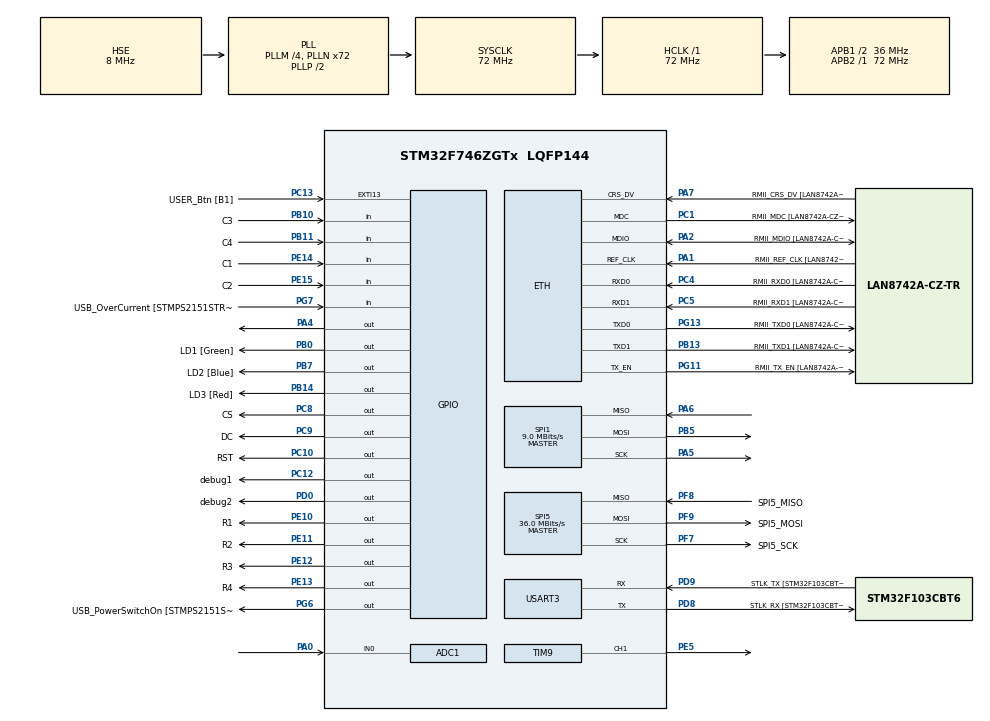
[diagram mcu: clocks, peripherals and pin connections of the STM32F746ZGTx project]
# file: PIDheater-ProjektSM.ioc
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ADC1.Channel-0\#ChannelRegularConversion=ADC_CHANNEL_0
ADC1.NbrOfConversionFlag=1
ADC1.Rank-0\#ChannelRegularConversion=1
ADC1.SamplingTime-0\#ChannelRegularConversion=ADC_SAMPLETIME_28CYCLES
ADC1.master=1
ARM.CMSIS.5.7.0.CMSISJjCORE=true
ARM.CMSIS.5.7.0.CMSISJjDSP=Library
CRC.DefaultInitValueUse=DEFAULT_INIT_VALUE_ENABLE
ETH.MediaInterface=HAL_ETH_RMII_MODE
ETH.PHY_Name=LAN8742A_PHY_ADDRESS
ETH.PHY_Value=0
ETH.PhyAddress=0
FATFS._MAX_SS=4096
FATFS._USE_LFN=1
LWIP.BSP.number=1
LWIP.GATEWAY_ADDRESS=192.168.113.004
LWIP.IP_ADDRESS=192.168.113.005
LWIP.LWIP_DHCP=1
LWIP.LWIP_RAW=1
LWIP.LWIP_SNTP=1
LWIP.NETMASK_ADDRESS=255.255.255.000
LWIP.SNTP_MAX_SERVERS=2
LWIP.Version=v2.1.2_Cube
LWIP0.BSP.STBoard=false
LWIP0.BSP.api=BSP_COMPONENT_DRIVER
LWIP0.BSP.component=LAN8742
LWIP0.BSP.instance=LAN8742
LWIP0.BSP.name=Driver_PHY
LWIP0.BSP.semaphore=S_LAN8742
LWIP0.BSP.solution=LAN8742
Mcu.Family=STM32F7
Mcu.Name=STM32F746ZGTx
Mcu.Package=LQFP144
NVIC.ETH_IRQn=true\:0\:0\:false\:false\:true\:true\:true\:true
NVIC.PriorityGroup=NVIC_PRIORITYGROUP_4
NVIC.TIM1_TRG_COM_TIM11_IRQn=true\:0\:0\:false\:false\:true\:true\:true\:true
NVIC.TIM1_UP_TIM10_IRQn=true\:0\:0\:false\:false\:true\:true\:true\:true
NVIC.TIM3_IRQn=true\:0\:0\:false\:false\:true\:true\:true\:true
NVIC.TIM8_UP_TIM13_IRQn=true\:0\:0\:false\:false\:true\:true\:true\:true
NVIC.USART3_IRQn=true\:0\:0\:false\:false\:true\:true\:true\:true
PA0/WKUP.Signal=ADCx_IN0
PA1.GPIO_Label=RMII_REF_CLK [LAN8742A-CZ-TR_REFCLK0]
PA1.Mode=RMII
PA1.Signal=ETH_REF_CLK
PA10.GPIO_Label=USB_ID
PA10.Signal=USB_OTG_FS_ID
PA11.GPIO_Label=USB_DM
PA11.Signal=USB_OTG_FS_DM
PA12.GPIO_Label=USB_DP
PA12.Signal=USB_OTG_FS_DP
PA13.GPIO_Label=TMS
PA13.Mode=Serial_Wire
PA13.Signal=SYS_JTMS-SWDIO
PA14.GPIO_Label=TCK
PA14.Mode=Serial_Wire
PA14.Signal=SYS_JTCK-SWCLK
PA2.GPIO_Label=RMII_MDIO [LAN8742A-CZ-TR_MDIO]
PA2.Mode=RMII
PA2.Signal=ETH_MDIO
PA4.GPIO_Speed=GPIO_SPEED_FREQ_MEDIUM
PA4.PinState=GPIO_PIN_SET
PA4.Signal=GPIO_Output
PA5.Mode=Full_Duplex_Master
PA5.Signal=SPI1_SCK
PA6.Mode=Full_Duplex_Master
PA6.Signal=SPI1_MISO
PA7.GPIO_Label=RMII_CRS_DV [LAN8742A-CZ-TR_CRS_DV]
PA7.Mode=RMII
PA7.Signal=ETH_CRS_DV
PA8.GPIO_Label=USB_SOF [TP1]
PA8.Signal=USB_OTG_FS_SOF
PA9.GPIO_Label=USB_VBUS
PA9.Signal=USB_OTG_FS_VBUS
PB0.GPIO_Label=LD1 [Green]
PB0.Signal=GPIO_Output
PB10.GPIO_Label=C3
PB10.GPIO_PuPd=GPIO_PULLUP
PB10.Signal=GPIO_Input
PB11.GPIO_Label=C4
PB11.GPIO_PuPd=GPIO_PULLUP
PB11.Signal=GPIO_Input
PB13.GPIO_Label=RMII_TXD1 [LAN8742A-CZ-TR_TXD1]
PB13.Mode=RMII
PB13.Signal=ETH_TXD1
PB14.GPIO_Label=LD3 [Red]
PB14.Signal=GPIO_Output
PB3.GPIO_Label=SW0
PB3.Signal=SYS_JTDO-SWO
PB5.Mode=Full_Duplex_Master
PB5.Signal=SPI1_MOSI
PB7.GPIO_Label=LD2 [Blue]
PB7.Signal=GPIO_Output
PC1.GPIO_Label=RMII_MDC [LAN8742A-CZ-TR_MDC]
PC1.Mode=RMII
PC1.Signal=ETH_MDC
PC10.GPIO_Label=RST
PC10.Signal=GPIO_Output
PC12.GPIO_Label=debug1
PC12.Signal=GPIO_Output
PC13.GPIO_Label=USER_Btn [B1]
PC13.Signal=GPXTI13
PC14/OSC32_IN.Mode=LSE-External-Oscillator
PC14/OSC32_IN.Signal=RCC_OSC32_IN
PC15/OSC32_OUT.Mode=LSE-External-Oscillator
PC15/OSC32_OUT.Signal=RCC_OSC32_OUT
PC4.GPIO_Label=RMII_RXD0 [LAN8742A-CZ-TR_RXD0]
PC4.Mode=RMII
PC4.Signal=ETH_RXD0
PC5.GPIO_Label=RMII_RXD1 [LAN8742A-CZ-TR_RXD1]
PC5.Mode=RMII
PC5.Signal=ETH_RXD1
PC8.GPIO_Label=CS
PC8.Signal=GPIO_Output
PC9.GPIO_Label=DC
PC9.Signal=GPIO_Output
PD0.GPIO_Label=debug2
PD0.Signal=GPIO_Output
PD8.GPIO_Label=STLK_RX [STM32F103CBT6_PA3]
PD8.GPIO_PuPd=GPIO_PULLUP
PD8.Mode=Asynchronous
PD8.Signal=USART3_TX
PD9.GPIO_Label=STLK_TX [STM32F103CBT6_PA2]
PD9.GPIO_PuPd=GPIO_PULLUP
PD9.Mode=Asynchronous
PD9.Signal=USART3_RX
PE10.GPIO_Label=R1
PE10.PinState=GPIO_PIN_SET
PE10.Signal=GPIO_Output
PE11.GPIO_Label=R2
PE11.PinState=GPIO_PIN_SET
PE11.Signal=GPIO_Output
PE12.GPIO_Label=R3
PE12.PinState=GPIO_PIN_SET
PE12.Signal=GPIO_Output
PE13.GPIO_Label=R4
PE13.PinState=GPIO_PIN_SET
PE13.Signal=GPIO_Output
PE14.GPIO_Label=C1
PE14.GPIO_PuPd=GPIO_PULLUP
PE14.Signal=GPIO_Input
PE15.GPIO_Label=C2
PE15.GPIO_PuPd=GPIO_PULLUP
PE15.Signal=GPIO_Input
PE5.Signal=S_TIM9_CH1
PF7.GPIO_Label=SPI5_SCK
PF7.Mode=Full_Duplex_Master
PF7.Signal=SPI5_SCK
PF8.GPIO_Label=SPI5_MISO
PF8.Mode=Full_Duplex_Master
PF8.Signal=SPI5_MISO
PF9.GPIO_Label=SPI5_MOSI
PF9.Mode=Full_Duplex_Master
PF9.Signal=SPI5_MOSI
PG11.GPIO_Label=RMII_TX_EN [LAN8742A-CZ-TR_TXEN]
PG11.Mode=RMII
PG11.Signal=ETH_TX_EN
PG13.GPIO_Label=RMII_TXD0 [LAN8742A-CZ-TR_TXD0]
PG13.Mode=RMII
PG13.Signal=ETH_TXD0
PG6.GPIO_Label=USB_PowerSwitchOn [STMPS2151STR_EN]
PG6.Signal=GPIO_Output
PG7.GPIO_Label=USB_OverCurrent [STMPS2151STR_FAULT]
PG7.Signal=GPIO_Input
PH0/OSC_IN.GPIO_Label=MCO [STM32F103CBT6_PA8]
PH0/OSC_IN.Mode=HSE-External-Clock-Source
PH0/OSC_IN.Signal=RCC_OSC_IN
PH1/OSC_OUT.Mode=HSE-External-Clock-Source
PH1/OSC_OUT.Signal=RCC_OSC_OUT
ProjectManager.HeapSize=0x200
ProjectManager.StackSize=0x400
ProjectManager.TargetToolchain=STM32CubeIDE
RCC.48MHZClocksFreq_Value=24000000
RCC.AHBFreq_Value=72000000
RCC.APB1CLKDivider=RCC_HCLK_DIV2
RCC.APB1Freq_Value=36000000
RCC.APB1TimFreq_Value=72000000
RCC.APB2Freq_Value=72000000
RCC.APB2TimFreq_Value=72000000
RCC.CortexFreq_Value=72000000
RCC.HCLKFreq_Value=72000000
RCC.HSE_VALUE=8000000
RCC.HSI_VALUE=16000000
RCC.PLLM=4
RCC.PLLMUL=RCC_PLL_MUL9
RCC.PLLN=72
RCC.PLLQ=3
RCC.PLLSourceVirtual=RCC_PLLSOURCE_HSE
RCC.PRESCALERUSB=RCC_USBCLKSOURCE_PLL_DIV1_5
RCC.RTCClockSelection=RCC_RTCCLKSOURCE_LSE
RCC.SYSCLKFreq_VALUE=72000000
RCC.SYSCLKSource=RCC_SYSCLKSOURCE_PLLCLK
RCC.SYSCLKSourceVirtual=RCC_SYSCLKSOURCE_PLLCLK
RCC.USBFreq_Value=48000000
RCC.VCOOutputFreq_Value=144000000
RTC.Date=2
RTC.Year=22
SH.ADCx_IN0.0=ADC1_IN0,IN0
SH.S_TIM9_CH1.0=TIM9_CH1,PWM Generation1 CH1
SPI1.BaudRatePrescaler=SPI_BAUDRATEPRESCALER_8
SPI1.CalculateBaudRate=9.0 MBits/s
SPI1.DataSize=SPI_DATASIZE_8BIT
SPI1.Direction=SPI_DIRECTION_2LINES
SPI1.Mode=SPI_MODE_MASTER
SPI1.VirtualType=VM_MASTER
SPI5.BaudRatePrescaler=SPI_BAUDRATEPRESCALER_2
SPI5.CalculateBaudRate=36.0 MBits/s
SPI5.DataSize=SPI_DATASIZE_8BIT
SPI5.Direction=SPI_DIRECTION_2LINES
SPI5.Mode=SPI_MODE_MASTER
SPI5.NSSPMode=SPI_NSS_PULSE_DISABLE
SPI5.VirtualType=VM_MASTER
TIM10.Period=9999
TIM10.Prescaler=35
TIM11.AutoReloadPreload=TIM_AUTORELOAD_PRELOAD_ENABLE
TIM11.Period=9999
TIM11.Prescaler=719
TIM13.AutoReloadPreload=TIM_AUTORELOAD_PRELOAD_ENABLE
TIM13.Period=9999
TIM13.Prescaler=7199
TIM3.AutoReloadPreload=TIM_AUTORELOAD_PRELOAD_ENABLE
TIM3.Period=9999
TIM3.Prescaler=7199
TIM9.AutoReloadPreload=TIM_AUTORELOAD_PRELOAD_ENABLE
TIM9.Channel-PWM\ Generation1\ CH1=TIM_CHANNEL_1
TIM9.Period=999
TIM9.Prescaler=35
USART3.VirtualMode-Asynchronous=VM_ASYNC
VP_ARM.CMSIS_VS_CMSISJjCORE_5.4.0_5.7.0.Mode=CMSISJjCORE
VP_ARM.CMSIS_VS_CMSISJjDSP_1.8.0_5.7.0.Mode=CMSISJjDSP
VP_CRC_VS_CRC.Mode=CRC_Activate
VP_FATFS_VS_Generic.Mode=User_defined
VP_LWIP_VS_Enabled.Mode=Enabled
VP_RTC_VS_RTC_Activate.Mode=RTC_Enabled
VP_RTC_VS_RTC_Calendar.Mode=RTC_Calendar
VP_TIM10_VS_ClockSourceINT.Mode=Enable_Timer
VP_TIM11_VS_ClockSourceINT.Mode=Enable_Timer
VP_TIM13_VS_ClockSourceINT.Mode=Enable_Timer
VP_TIM3_VS_ClockSourceINT.Mode=Internal
VP_TIM9_VS_ClockSourceINT.Mode=Internal
board=NUCLEO-F746ZG

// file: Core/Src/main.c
/* USER CODE BEGIN Header */
/**
  ******************************************************************************
  * @file           : main.c
  * @brief          : Main program body
  ******************************************************************************
  * @attention
  *
  * Copyright (c) 2023 STMicroelectronics.
  * All rights reserved.
  *
  * This software is licensed under terms that can be found in the LICENSE file
  * in the root directory of this software component.
  * If no LICENSE file comes with this software, it is provided AS-IS.
  *
  ******************************************************************************
  */
/* USER CODE END Header */
#include "main.h"
#include "adc.h"
#include "crc.h"
#include "fatfs.h"
#include "lwip.h"
#include "rtc.h"
#include "spi.h"
#include "tim.h"
#include "usart.h"
#include "gpio.h"

/* USER CODE BEGIN Includes */
#include "arm_math.h"
#include "grzalka_defs.h"
#include "base.h"
#include "web.h"
#include "memo.h"
#include "serial_communication.h"

/*microSD card*/
#include "fatfs_sd.h"
#include "string.h"
#include "stdio.h"
#include "user_microSD.h"
//#include "lwip/apps/sntp.h"
  /* klawiaturka*/
#include "klawiatur.h"

/*Wyswietlacz*/
#include "ILI9341_STM32_Driver.h"
#include "ILI9341_GFX.h"
#include "snow_tiger.h"

/* USER CODE END Includes */

/* USER CODE BEGIN PV */
struct heater_data heat_d;
struct pid_config piajdi;
int Tem,IP1,IP2,IP3,IP4;

/*klawiaturka*/
//bufor przechowujący dwie cyfry zadanej temperatury do zapodania mieszkowi
int bufor_mieszka;
int idx_buf = 0;

char Rx_data[1], Rx_Buffer[50], Transfer_cplt;
uint16_t Rx_indx;
float idk = 69.9;
char message[50];

//RTC_TimeTypeDef czas;
//RTC_DateTypeDef date;
RTC_TimeTypeDef czas1;
RTC_DateTypeDef date1;

/* microSD card*/
FATFS fs;
FIL fil;
uint8_t kartasd;
/* USER CODE END PV */

void SystemClock_Config(void);

/* USER CODE BEGIN 0 */

void HAL_UART_RxCpltCallback(UART_HandleTypeDef *huart)
{

	if (huart == &huart3)
	{
		uint8_t i=0;
		//int j=0;
		if (Rx_indx==0) {for (i=0;i<22;i++) Rx_Buffer[i]=0;} //clear Rx_Buffer before receiving new data

		if (Rx_data[0]!=10)	//if received data different from ascii 13 (enter)
			{
			Rx_Buffer[Rx_indx++]=Rx_data[0];	//add data to Rx_Buffer
			}
		else			//if received data = 13
			{
			Rx_indx=0;
			Transfer_cplt=1;//transfer complete, data is ready to read
			HAL_GPIO_TogglePin(LD2_GPIO_Port, LD2_Pin);
			}

		if (Transfer_cplt == 1)
		{

            //for (j=0;j<3;j++) preVal[j]=&Rx_Buffer[j+1];
            //preVal=&Rx_Buffer[1];
        	uint32_t receive_crc;
            int IP11,IP21,IP31,IP41;
            float P1,I1,D1,Tem1;
            Tem1=P1=I1=D1=IP11=IP21=IP31=IP41=0;

            //char string[20];
            sscanf(Rx_Buffer,"Tem=%f;P=%f;I=%f;D=%f;IP=%d.%d.%d.%d;",&Tem1,&P1,&I1,&D1,&IP11,&IP21,&IP31,&IP41);
            receive_crc = HAL_CRC_Calculate(&hcrc, (uint32_t*)Rx_Buffer, sizeof(Rx_Buffer));
            if (Tem1 == 1224)
            {

             }
             if(Tem1 != 1224)
             {
//               	Tem = Tem1;
            	 update_setpoint(&Tem1);
              }
              if (P1 == 1224)
              {
                 piajdi.P = piajdi.P;
               }
              if(P1 != 1224)
               {
            	  piajdi.P = P1;
               }
              if(I1 == 1224)
              {
            	  piajdi.I = piajdi.I;
              	  }
               if(I1 != 1224)
               {
            	   piajdi.I = I1;
                }
                if(D1 == 1224)
                 {
                	piajdi.D = piajdi.D;
            	 }
                 if(D1 != 1224)
                 {
                	 piajdi.D = D1;
                 }
                 if(IP11 == 1224)
                 {
                    IP1 = IP1;
                  }
                  if(IP11 != 1224)
                  {
                    IP1 = IP11;
                  }
                  if(IP21 == 1224)
                  {
                    IP2 = IP2;
                   }
                   if(IP21 != 1224)
                   {
                     IP2 = IP21;
                    }
                   if(IP31 == 1224)
                    {
                       IP3 = IP3;
                     }
                    if(IP31 != 1224)
                     {
                       IP3 = IP31;
                      }
                     if(IP41 == 1224)
                      {
                       IP4 = IP4;
                       }
                      if(IP41 != 1224)
                       {
                      	IP4 = IP41;
                       }

            //sscanf(Rx_Buffer,"%d",string,&a,&b,&c,&d);

////            if(strcmp(string,"ip")==0)1
////            {
////            	sntpreconfig(&a, &b, &c, &d);
////            }
//
//
//
            update_pid(&piajdi);
            sntpreconfig(&IP1, &IP2, &IP3, &IP4);
            Transfer_cplt = 0;
//

		}

		HAL_UART_Receive_IT(&huart3,(uint8_t*)&Rx_data, 1);	//activate UART receive interrupt every time
	}

}
/* USER CODE END 0 */

int main(void)
{

  /* MCU Configuration--------------------------------------------------------*/

  /* Reset of all peripherals, Initializes the Flash interface and the Systick. */
  HAL_Init();

  /* Configure the system clock */
  SystemClock_Config();

  /* Initialize all configured peripherals */
  MX_GPIO_Init();
  MX_USART3_UART_Init();
  MX_CRC_Init();
  MX_SPI1_Init();
  MX_ADC1_Init();
  MX_FATFS_Init();
  MX_LWIP_Init();
  MX_TIM9_Init();
  MX_TIM10_Init();
  MX_RTC_Init();
  MX_TIM3_Init();
  MX_TIM11_Init();
  MX_SPI5_Init();
  MX_TIM13_Init();
  /* USER CODE BEGIN 2 */
  HAL_TIM_PWM_Start(&htim9, TIM_CHANNEL_1);
  HAL_TIM_Base_Start_IT(&htim10);
  HAL_UART_Receive_IT(&huart3, (uint8_t*)&Rx_data, 1);
  HAL_TIM_Base_Start_IT(&htim3);  //timer SD card
  HAL_TIM_Base_Start_IT(&htim11); //przemiatanie klawiaturki
  /* Wyswietlacz*/
  ILI9341_Init();//initial driver setup to drive ili9341
  //HAL_TIM_Base_Start_IT(&htim13);

  internetprawdepowie();

  zegarmistrzswiatla();
  uint8_t k=100;

  user_f_clear (&fs, &fil, "log.txt");

  char full[120];
  uint16_t len;
  uint32_t crc8 = 0;
  mqtt_client_t* client;
  MX_LWIP_Process();
    client = mqtt_client_new();
    if(client != NULL)
    {
  	  mqtt_connect_to_broker(client);

    }
  /* USER CODE END 2 */

  /* Infinite loop */
  while (1)
  {

    /* USER CODE BEGIN 3 */
	  MX_LWIP_Process();

	  if (kartasd==1)
	  {
		  HAL_RTC_GetTime(&hrtc, &czas1, RTC_FORMAT_BIN);
		  HAL_RTC_GetDate(&hrtc, &date1, RTC_FORMAT_BIN);
		  get_sensor_data(&heat_d);
		  user_f_write (&fs, &fil, "log.txt", &czas1, &date1, &heat_d);
		  kartasd = 0;

		  len  = snprintf(full,sizeof(full),"Ob=%f;Tem=%f;Zad=%f;P=%f;I=%f;D=%f;IP=%d.%d.%d.%d;crc:%02X\r\n",heat_d.temperature,heat_d.xref,heat_d.u,piajdi.P,piajdi.I,piajdi.D,IP1,IP2,IP3,IP4,(uint8_t)crc8);
		  crc8 = HAL_CRC_Calculate(&hcrc, (uint32_t*)full, sizeof(full));
		  HAL_UART_Transmit_IT(&huart3, (uint8_t*)full, len);

		  if(mqtt_client_is_connected(client))
		  	  {
		  			  uint16_t message_length = 0;
		  			  message_length = snprintf(message,49,"\"Cebularz\":%0.3f",idk);

		  			  err_t err;
		  			  u8_t qos = 2;
		  			  u8_t retain = 0;
		  			  err = mqtt_publish(client, "stm/test", full, len, qos, retain, mqtt_pub_request_cb, 0);
		  			  if(err != ERR_OK)
		  			  {

		  			  }
		  			  err = mqtt_subscribe(client, "stm/set",qos,mqtt_sub_request_cb,0);
		  	  }

	  }
//	  HAL_Delay(10);
//	  k--;
//	  if(k==0)
//	  {
//		  k=100;
//		  //zegarmistrzswiatla();
//		  HAL_RTC_GetTime(&hrtc, &czas1, RTC_FORMAT_BIN);
//		  HAL_RTC_GetDate(&hrtc, &date1, RTC_FORMAT_BIN);
//		  get_sensor_data(&heat_d);
//		  user_f_write (&fs, &fil, "log.txt", &czas1, &date1, &heat_d);
//		  user_f_read(&fs, &fil, "log.txt");
//	  }
	  //cycle_heater(); // uruchomienie tego w taki sposób grozi poparzeniem lol

  }
  /* USER CODE END 3 */
}

void SystemClock_Config(void)
{
  RCC_OscInitTypeDef RCC_OscInitStruct = {0};
  RCC_ClkInitTypeDef RCC_ClkInitStruct = {0};

  /** Configure LSE Drive Capability
  */
  HAL_PWR_EnableBkUpAccess();
  __HAL_RCC_LSEDRIVE_CONFIG(RCC_LSEDRIVE_LOW);

  /** Configure the main internal regulator output voltage
  */
  __HAL_RCC_PWR_CLK_ENABLE();
  __HAL_PWR_VOLTAGESCALING_CONFIG(PWR_REGULATOR_VOLTAGE_SCALE3);

  /** Initializes the RCC Oscillators according to the specified parameters
  * in the RCC_OscInitTypeDef structure.
  */
  RCC_OscInitStruct.OscillatorType = RCC_OSCILLATORTYPE_HSE|RCC_OSCILLATORTYPE_LSE;
  RCC_OscInitStruct.HSEState = RCC_HSE_BYPASS;
  RCC_OscInitStruct.LSEState = RCC_LSE_ON;
  RCC_OscInitStruct.PLL.PLLState = RCC_PLL_ON;
  RCC_OscInitStruct.PLL.PLLSource = RCC_PLLSOURCE_HSE;
  RCC_OscInitStruct.PLL.PLLM = 4;
  RCC_OscInitStruct.PLL.PLLN = 72;
  RCC_OscInitStruct.PLL.PLLP = RCC_PLLP_DIV2;
  RCC_OscInitStruct.PLL.PLLQ = 3;
  if (HAL_RCC_OscConfig(&RCC_OscInitStruct) != HAL_OK)
  {
    Error_Handler();
  }

  /** Initializes the CPU, AHB and APB buses clocks
  */
  RCC_ClkInitStruct.ClockType = RCC_CLOCKTYPE_HCLK|RCC_CLOCKTYPE_SYSCLK
                              |RCC_CLOCKTYPE_PCLK1|RCC_CLOCKTYPE_PCLK2;
  RCC_ClkInitStruct.SYSCLKSource = RCC_SYSCLKSOURCE_PLLCLK;
  RCC_ClkInitStruct.AHBCLKDivider = RCC_SYSCLK_DIV1;
  RCC_ClkInitStruct.APB1CLKDivider = RCC_HCLK_DIV2;
  RCC_ClkInitStruct.APB2CLKDivider = RCC_HCLK_DIV1;

  if (HAL_RCC_ClockConfig(&RCC_ClkInitStruct, FLASH_LATENCY_2) != HAL_OK)
  {
    Error_Handler();
  }
}

/* USER CODE BEGIN 4 */
void HAL_TIM_PeriodElapsedCallback (TIM_HandleTypeDef *htim)
{
  if (htim->Instance == htim10.Instance)
  {
	  cycle_heater();
  }

//  if (htim->Instance == TIM3)
//  {
//	  HAL_RTC_GetTime(&hrtc, &czas1, RTC_FORMAT_BIN);
//	  HAL_RTC_GetDate(&hrtc, &date1, RTC_FORMAT_BIN);
//	  get_sensor_data(&heat_d);
//	  user_f_write (&fs, &fil, "log.txt", &czas1, &date1, &heat_d);
//	  //user_f_read(&fs, &fil, "log.txt");
//  }
  if (htim->Instance == TIM11)
  {
	  key = read_keypad();
	  if (key != none){bufor_mieszka = wpisywanie_klawiatur(key, &idx_buf);}
	  HAL_UART_Transmit(&huart3, &key, strlen(&key), 100);
  }
  if (htim->Instance == TIM13)
    {
	  int length = snprintf((char*)wyswietlacz,50,
	  			"%f", heat_d.temperature);

  		ILI9341_Fill_Screen(WHITE);
  		ILI9341_Set_Rotation(SCREEN_HORIZONTAL_2);
  		ILI9341_Draw_Text("Slow draw by selecting", 10, 10, BLACK, 1, WHITE);
  		ILI9341_Draw_Text(wyswietlacz, 10, 20, BLACK, 1, WHITE);

//  		ILI9341_Fill_Screen(WHITE);
    }
}
/* USER CODE END 4 */

void Error_Handler(void)
{
  __disable_irq();
  while (1)
  {
  }
}
